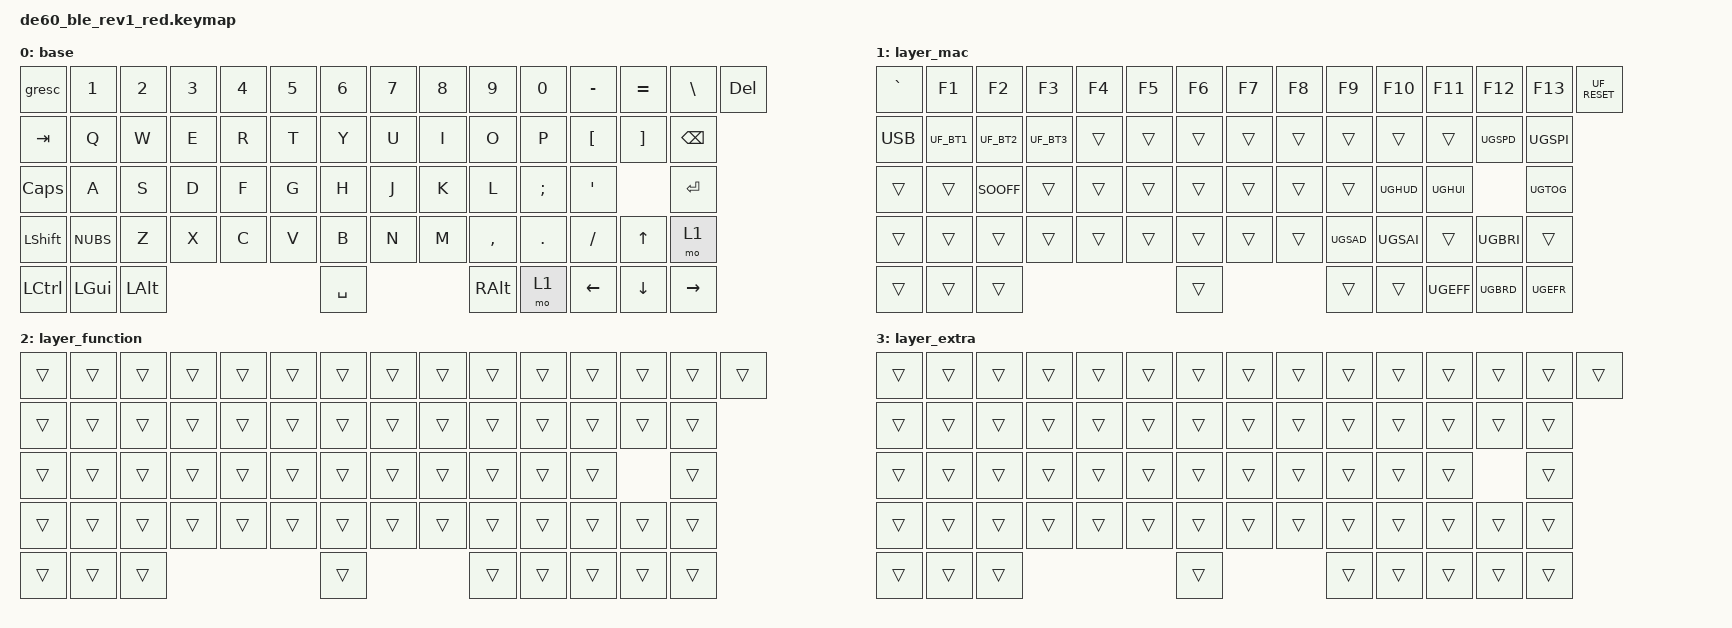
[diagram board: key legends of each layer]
/*
 * Copyright (c) 2026 DEKB 
 * SPDX-License-Identifier: MIT
 */

#include "../common.keymap"

#include <dt-bindings/zmk/rgb.h>

#define UGTOG rgb_ug RGB_TOG
#define UGBRD rgb_ug RGB_BRD
#define UGBRI rgb_ug RGB_BRI
#define UGHUD rgb_ug RGB_HUD
#define UGHUI rgb_ug RGB_HUI
#define UGSAI rgb_ug RGB_SAI
#define UGSAD rgb_ug RGB_SAD
#define UGSPI rgb_ug RGB_SPI
#define UGSPD rgb_ug RGB_SPD
#define UGEFF rgb_ug RGB_EFF
#define UGEFR rgb_ug RGB_EFR

#define VOLUP kp C_VOL_UP
#define VOLDN kp C_VOL_DN

#define UF_RESET bootloader_reset 0 0

#define USB Device_USB

#define UF_BT1 device_bt1 0 0
#define UF_BT2 device_bt2 0 1
#define UF_BT3 device_bt3 0 2

#define SOOFF soft_off_full 0 0

/ {

    keymap {
        compatible = "zmk,keymap";

        base {
            bindings = <
&gresc    &kp N1   &kp N2  &kp N3  &kp N4  &kp N5  &kp N6  &kp N7  &kp N8  &kp N9    &kp N0   &kp MINUS &kp EQUAL &kp BSLH  &kp DEL 
&kp TAB   &kp Q    &kp W   &kp E   &kp R   &kp T   &kp Y   &kp U   &kp I   &kp O     &kp P    &kp LBKT  &kp RBKT  &kp BSPC  
&kp CAPS  &kp A    &kp S   &kp D   &kp F   &kp G   &kp H   &kp J   &kp K   &kp L     &kp SEMI &kp SQT             &kp ENTER 
&kp LSHFT &kp NUBS &kp Z   &kp X   &kp C   &kp V   &kp B   &kp N   &kp M   &kp COMMA &kp DOT  &kp FSLH  &kp UP    &mo 1
&kp LCTRL &kp LGUI &kp LALT                        &kp SPACE               &kp RALT  &mo 1    &kp LEFT  &kp DOWN  &kp RIGHT
            >;
        };

        layer_mac {
            bindings = < 
&kp GRAVE &kp F1   &kp F2  &kp F3  &kp F4  &kp F5  &kp F6  &kp F7  &kp F8  &kp F9  &kp F10  &kp F11 &kp F12 &kp F13 &UF_RESET
&USB      &UF_BT1  &UF_BT2 &UF_BT3 &trans  &trans  &trans  &trans  &trans  &trans  &trans   &trans  &UGSPD  &UGSPI  
&trans    &trans   &SOOFF  &trans  &trans  &trans  &trans  &trans  &trans  &trans  &UGHUD   &UGHUI          &UGTOG     
&trans    &trans   &trans  &trans  &trans  &trans  &trans  &trans  &trans  &UGSAD  &UGSAI   &trans  &UGBRI  &trans
&trans    &trans   &trans                          &trans                  &trans  &trans   &UGEFF  &UGBRD  &UGEFR
            >;
        };

        layer_function {
            bindings = <
&trans  &trans  &trans  &trans &trans  &trans  &trans  &trans  &trans  &trans  &trans  &trans  &trans  &trans  &trans
&trans  &trans  &trans  &trans &trans  &trans  &trans  &trans  &trans  &trans  &trans  &trans  &trans  &trans
&trans  &trans  &trans  &trans &trans  &trans  &trans  &trans  &trans  &trans  &trans  &trans          &trans
&trans  &trans  &trans  &trans &trans  &trans  &trans  &trans  &trans  &trans  &trans  &trans  &trans  &trans
&trans  &trans  &trans                         &trans                  &trans  &trans  &trans  &trans  &trans
            >;
        };

        layer_extra {
            bindings = < 
&trans  &trans  &trans  &trans &trans  &trans  &trans  &trans  &trans  &trans  &trans  &trans  &trans  &trans  &trans
&trans  &trans  &trans  &trans &trans  &trans  &trans  &trans  &trans  &trans  &trans  &trans  &trans  &trans
&trans  &trans  &trans  &trans &trans  &trans  &trans  &trans  &trans  &trans  &trans  &trans          &trans
&trans  &trans  &trans  &trans &trans  &trans  &trans  &trans  &trans  &trans  &trans  &trans  &trans  &trans
&trans  &trans  &trans                         &trans                  &trans  &trans  &trans  &trans  &trans
            >;
        };
    };

};
